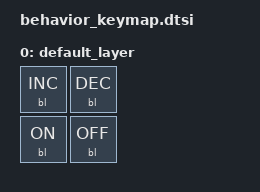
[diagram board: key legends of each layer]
#include <dt-bindings/zmk/keys.h>
#include <behaviors.dtsi>
#include <dt-bindings/zmk/kscan_mock.h>
#include <dt-bindings/zmk/backlight.h>

/ {
    chosen {
        zmk,backlight = &backlight;
    };

    backlight: leds {
        compatible = "gpio-leds";
        led_0 {
            gpios = <&gpio0 0 GPIO_ACTIVE_HIGH>;
        };
        led_1 {
            gpios = <&gpio0 1 GPIO_ACTIVE_HIGH>;
        };
    };

    keymap {
        compatible = "zmk,keymap";

        default_layer {
            bindings = <
                &bl BL_INC &bl BL_DEC
                &bl BL_ON  &bl BL_OFF
            >;
        };
    };
};
